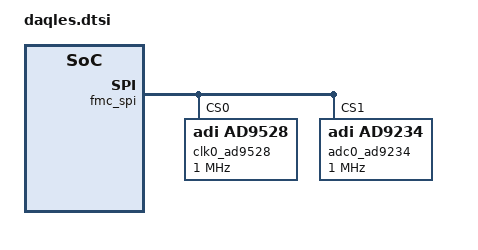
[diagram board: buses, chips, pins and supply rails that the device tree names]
#include <dt-bindings/iio/frequency/ad9528.h>

/ {
	clocks {

	};
};

&fmc_spi {
	clk0_ad9528: ad9528@0 {
		#address-cells = <1>;
		#size-cells = <0>;
		#clock-cells = <1>;
		compatible = "adi,ad9528";

		//spi-cpol;
		//spi-cpha;
		spi-max-frequency = <1000000>;
		adi,spi-3wire-enable;
		reg = <0>;

		clock-output-names = "ad9528_out0", "ad9528_out1", "ad9528_out2", "ad9528_out3", "ad9528_out4", "ad9528_out5", "ad9528_out6", "ad9528_out7", "ad9528_out8", "ad9528_out9", "ad9528_out10", "ad9528_out11", "ad9528_out12", "ad9528_out13";

		adi,vcxo-freq = <125000000>;

		/* PLL1 config */
		adi,ref-mode = <REF_MODE_STAY_ON_REFB>;
		adi,refa-diff-rcv-enable;
		adi,refa-r-div = <4>;
		adi,refb-r-div = <4>;
		adi,pll1-feedback-src-vcxo;
		adi,pll1-feedback-div = <4>;
		adi,osc-in-cmos-neg-inp-enable;
		adi,pll1-charge-pump-current-nA = <10000>;

		/* PLL2 config */
		//adi,pll2-ndiv-a-cnt = <0>;
		adi,pll2-ndiv-b-cnt = <40>;
		adi,pll2-r1-div = <5>;
		adi,pll2-vco-diff-m1 = <4>;
		adi,pll2-n2-div = <40>;
		adi,pll2-charge-pump-current-nA = <805000>;

		/* SYSREF config */
		adi,sysref-src = <SYSREF_SRC_INTERNAL>;			// = 125MHz / 10 = 12,5 MHz
		//adi,sysref-k-div = <12>;						// 44 31,25MHz / 5 = 12,5MHz/2 = 6,25MHz

		adi,rpole2 = <RPOLE2_900_OHM>;
		adi,rzero = <RZERO_1850_OHM>;
		adi,cpole1 = <CPOLE1_16_PF>;	

		adi,status-mon-pin0-function-select = <3>; /* PLL2 Locked */
		adi,status-mon-pin1-function-select = <7>; /* REFA Correct */

		ad9528_0_c12: channel@12 { 		/* 1GHz/2  = 500 MHz*/
			reg = <12>;
			adi,extended-name = "ADC_CLK";
			adi,driver-mode = <DRIVER_MODE_LVDS>;
			adi,divider-phase = <0>;
			adi,channel-divider = <2>;
			adi,signal-source = <SOURCE_VCO>;
		};

		ad9528_0_c5: channel@5 { 		/* 1GHz/4 = 250 MHz -> device clock = 250/2 = 125 MHz*/
			reg = <5>;
			adi,extended-name = "FPGA_CLK";
			adi,driver-mode = <DRIVER_MODE_LVDS>;
			adi,divider-phase = <0>;
			adi,channel-divider = <4>;
			adi,signal-source = <SOURCE_VCO>;
		};

		// SYSREF signals
		ad9528_0_c8: channel@8 {		// ... MHz
			reg = <8>;
			adi,extended-name = "FPGA_SYSREF";
			adi,driver-mode = <DRIVER_MODE_LVDS>;
			adi,divider-phase = <0>;
			adi,channel-divider = <128>;
			adi,signal-source = <SOURCE_SYSREF_VCO>;
		};

		ad9528_0_c9: channel@9 {		// ... MHz
			reg = <9>;
			adi,extended-name = "ADC_SYSREF";
			adi,driver-mode = <DRIVER_MODE_LVDS>;
			adi,divider-phase = <0>;
			adi,channel-divider = <128>;
			adi,signal-source = <SOURCE_SYSREF_VCO>;
		};
	};
	adc0_ad9234: ad9234@1 {
		#address-cells = <1>;
		#size-cells = <0>;

		compatible = "adi,ad9234";
		reg = <1>;
		spi-max-frequency = <1000000>;
		spi-cpol;
		spi-cpha;
		
		clocks = <&axi_ad9234_jesd>, <&clk0_ad9528 12>, <&clk0_ad9528 8>;
		clock-names = "jesd_adc_clk", "adc_clk", "adc_sysref";
	};
};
